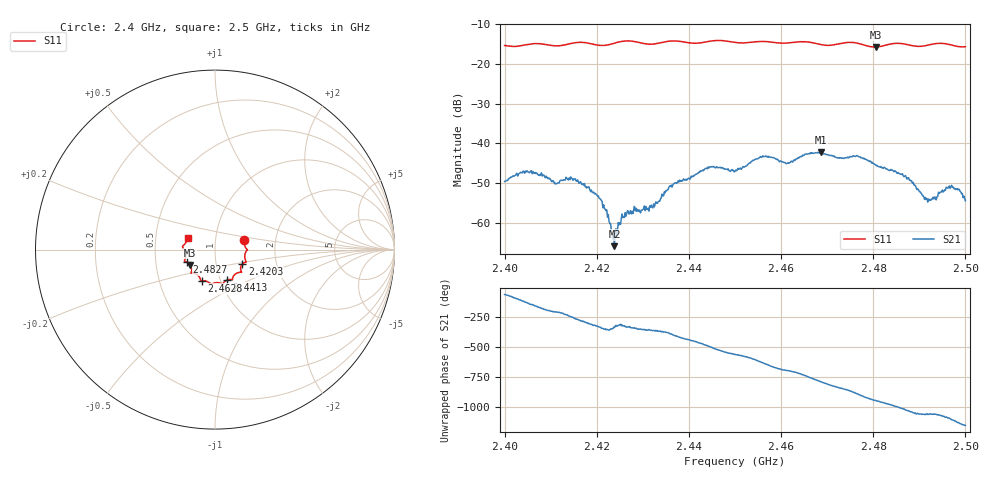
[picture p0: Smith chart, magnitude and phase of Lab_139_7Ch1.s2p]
# Hz S RI R 50
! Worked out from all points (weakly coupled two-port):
!   601 points, 2.4 GHz to 2.5 GHz, reference 50 ohm
!   highest |S21| = -42.26 dB at 2.4687 GHz (marker M1); lowest = -65.9 dB at 2.4238 GHz (marker M2)
!   lowest |S11| = -15.7 dB at 2.4807 GHz (marker M3), VSWR 1.39, Z = 37.3 - j6.51 ohm
!   |S11| at or under -10 dB: start of sweep to end of sweep
!   S12 and S22 are empty: the file has one direction only
!   S11 on the Smith chart (normalised r, x): 2.4 GHz: 1.38, +0.15; 2.4203 GHz: 1.34, -0.22; 2.4413 GHz: 1.08, -0.38; 2.4628 GHz: 0.82, -0.29; 2.4827 GHz: 0.72, -0.11; 2.5 GHz: 0.73, +0.10
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2.4e9  0.1626 0.0525  0.00135 -0.00301  0 0  0 0
2.405333e9  0.1775 0.00263  -0.00343 -0.00253  0 0  0 0
2.416667e9  0.1738 -0.0697  0.000918 0.00295  0 0  0 0
2.420333e9  0.1527 -0.0798  0.00194 0.00098  0 0  0 0
2.423833e9  0.1436 -0.1131  0.000476 0.000168  0 0  0 0
2.426333e9  0.1486 -0.126  0.00109 0.000503  0 0  0 0
2.433333e9  0.1003 -0.1518  0.00179 -0.000424  0 0  0 0
2.436167e9  0.0976 -0.1682  0.00246 -0.00167  0 0  0 0
2.441333e9  0.0674 -0.1693  -0.000444 -0.00397  0 0  0 0
2.445e9  0.0438 -0.1901  -0.00431 -0.00269  0 0  0 0
2.45e9  0.0246 -0.1852  -0.00403 0.00187  0 0  0 0
2.456e9  -0.0204 -0.191  0.00065 0.00692  0 0  0 0
2.462833e9  -0.0715 -0.1736  0.0061 0.000862  0 0  0 0
2.466667e9  -0.0812 -0.1672  0.00543 -0.0053  0 0  0 0
2.468667e9  -0.0878 -0.1517  0.00208 -0.00743  0 0  0 0
2.480667e9  -0.1395 -0.085  -0.00319 0.00413  0 0  0 0
2.482667e9  -0.1573 -0.0707  -0.00133 0.00462  0 0  0 0
2.483333e9  -0.1625 -0.0684  -0.000815 0.00452  0 0  0 0
2.4875e9  -0.1667 -0.0523  0.00257 0.0026  0 0  0 0
2.491667e9  -0.1714 -0.00163  0.00189 0.000682  0 0  0 0
2.496833e9  -0.1718 0.0273  0.00256 -0.00118  0 0  0 0
2.5e9  -0.1518 0.0641  0.000428 -0.00183  0 0  0 0
